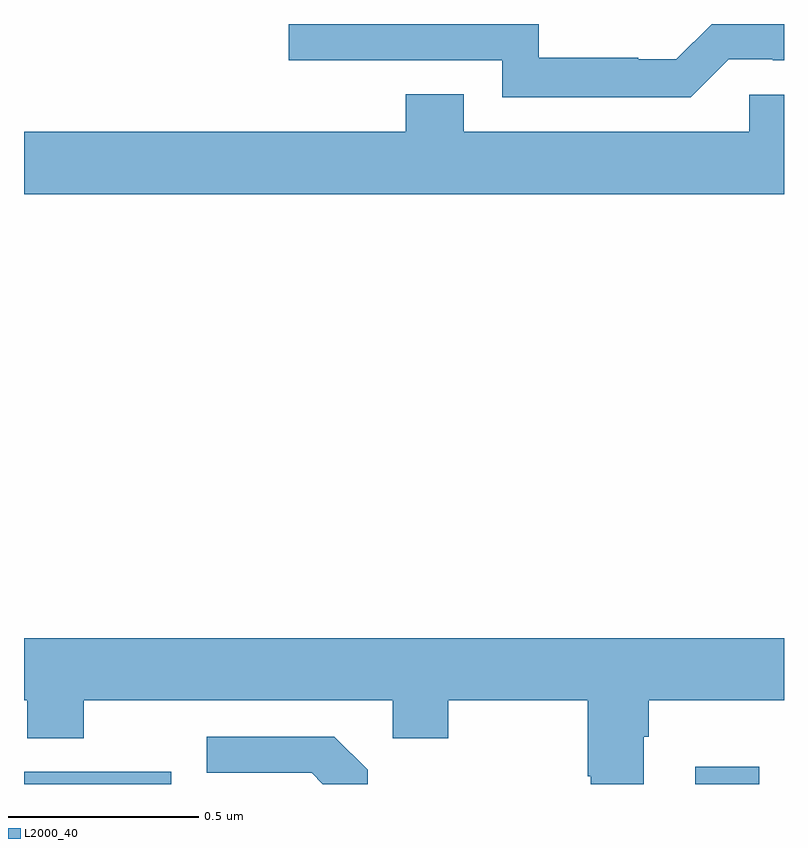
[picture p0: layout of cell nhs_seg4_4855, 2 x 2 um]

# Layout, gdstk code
import gdstk
lib = gdstk.Library(unit=1e-6, precision=1e-09)
def R(c, l, rs):  # rectangles x0, y0, x1, y1
    for r in rs: c.add(gdstk.rectangle(r[:2], r[2:], *l))
def P(c, l, *ps):  # polygons
    for p in ps: c.add(gdstk.Polygon(p, *l))
L2000_40 = (2000, 40)

nhs_seg4_4855 = lib.new_cell('nhs_seg4_4855')
R(nhs_seg4_4855, L2000_40, [(170,829.9,170.388,829.932), (171.767,829.9,171.935,829.945)])
P(nhs_seg4_4855, L2000_40, [(171.855,831.807),(171.971,831.807),(171.971,831.804),(172,831.804),(172,831.9),(171.81,831.9),(171.717,831.807),(171.617,831.807),(171.617,831.811),(171.354,831.811),(171.354,831.9),(170.697,831.9),(170.697,831.804),(171.258,831.804),(171.258,831.707),(171.755,831.707)],
  [(172,831.714),(171.909,831.714),(171.909,831.616),(171.157,831.616),(171.157,831.715),(171.005,831.715),(171.005,831.616),(170,831.616),(170,831.452),(172,831.452)],
  [(171.631,830.024),(171.644,830.024),(171.644,830.12),(172,830.12),(172,830.284),(170,830.284),(170,830.12),(170.009,830.12),(170.009,830.021),(170.157,830.021),(170.157,830.12),(170.97,830.12),(170.97,830.021),(171.117,830.021),(171.117,830.12),(171.484,830.12),(171.484,829.921),(171.491,829.921),(171.491,829.9),(171.631,829.9)],
  [(170.904,829.938),(170.817,830.025),(170.481,830.025),(170.481,829.929),(170.757,829.929),(170.786,829.9),(170.904,829.9)])

lib.write_gds('nhs_seg4_4855.gds')
